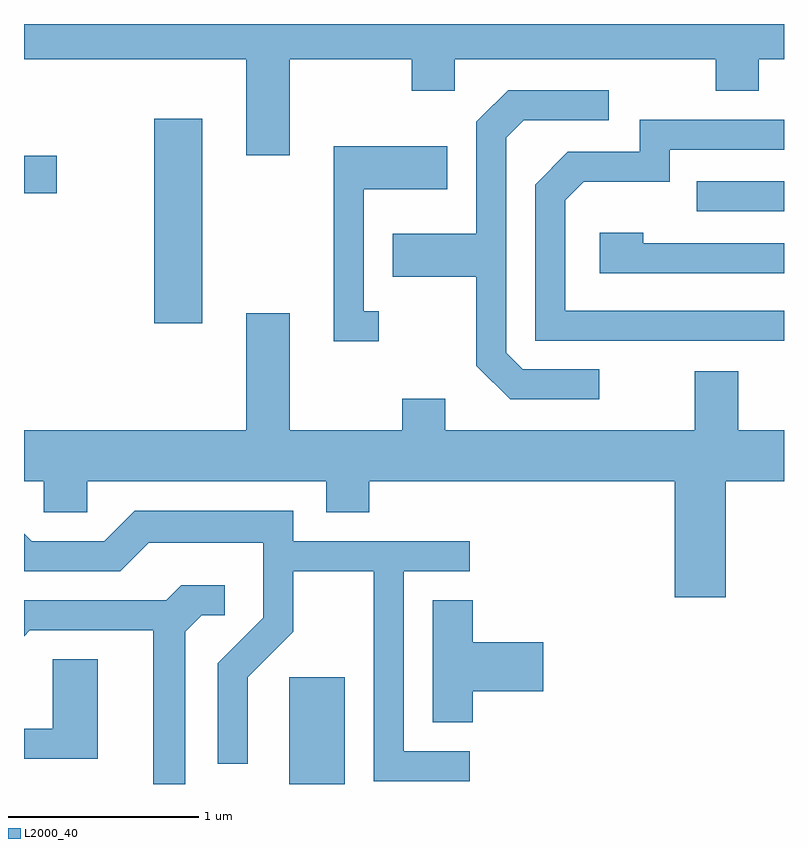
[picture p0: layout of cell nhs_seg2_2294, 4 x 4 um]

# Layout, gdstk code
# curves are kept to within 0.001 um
import gdstk
lib = gdstk.Library(unit=1e-6, precision=1e-09)
def R(c, l, rs):  # rectangles x0, y0, x1, y1
    for r in rs: c.add(gdstk.rectangle(r[:2], r[2:], *l))
def P(c, l, *ps):  # polygons
    for p in ps: c.add(gdstk.Polygon(p, *l))
L2000_40 = (2000, 40)

nhs_seg2_2294 = lib.new_cell('nhs_seg2_2294')
R(nhs_seg2_2294, L2000_40, [(253.006,1077.802,253.299,1078.364), (252.296,1080.226,252.549,1081.304), (255.153,1080.816,255.611,1080.974), (251.611,1080.911,251.784,1081.109)])
P(nhs_seg2_2294, L2000_40, [(253.009,1081.616),(253.651,1081.616),(253.651,1081.451),(253.879,1081.451),(253.879,1081.616),(255.251,1081.616),(255.251,1081.451),(255.479,1081.451),(255.479,1081.616),(255.611,1081.616),(255.611,1081.802),(251.611,1081.802),(251.611,1081.616),(252.781,1081.616),(252.781,1081.111),(253.009,1081.111)],
  [(254.638,1079.984),(254.237,1079.984),(254.149,1080.072),(254.149,1081.204),(254.242,1081.296),(254.688,1081.296),(254.688,1081.454),(254.159,1081.454),(253.991,1081.287),(253.991,1080.699),(253.551,1080.699),(253.551,1080.471),(253.991,1080.471),(253.991,1080.004),(254.169,1079.826),(254.638,1079.826)],
  [(255.611,1080.294),(254.459,1080.294),(254.459,1080.874),(254.557,1080.971),(255.009,1080.971),(255.009,1081.141),(255.611,1081.141),(255.611,1081.299),(254.851,1081.299),(254.851,1081.129),(254.474,1081.129),(254.301,1080.957),(254.301,1080.136),(255.611,1080.136)],
  [(253.478,1080.289),(253.399,1080.289),(253.399,1080.931),(253.839,1080.931),(253.839,1081.159),(253.241,1081.159),(253.241,1080.131),(253.478,1080.131)],
  [(255.611,1080.649),(254.869,1080.649),(254.869,1080.704),(254.641,1080.704),(254.641,1080.491),(255.611,1080.491)],
  [(255.304,1079.396),(255.611,1079.396),(255.611,1079.664),(255.369,1079.664),(255.369,1079.974),(255.141,1079.974),(255.141,1079.664),(253.829,1079.664),(253.829,1079.829),(253.601,1079.829),(253.601,1079.664),(253.009,1079.664),(253.009,1080.279),(252.781,1080.279),(252.781,1079.664),(251.611,1079.664),(251.611,1079.396),(251.716,1079.396),(251.716,1079.231),(251.944,1079.231),(251.944,1079.396),(253.201,1079.396),(253.201,1079.231),(253.429,1079.231),(253.429,1079.396),(255.036,1079.396),(255.036,1078.786),(255.304,1078.786)],
  [(253.958,1077.974),(253.609,1077.974),(253.609,1078.921),(253.958,1078.921),(253.958,1079.079),(253.029,1079.079),(253.029,1079.239),(252.194,1079.239),(252.034,1079.079),(251.652,1079.079),(251.611,1079.12),(251.611,1078.921),(252.117,1078.921),(252.267,1079.071),(252.871,1079.071),(252.871,1078.677),(252.631,1078.437),(252.631,1077.908),(252.789,1077.908),(252.789,1078.364),(253.029,1078.604),(253.029,1078.921),(253.451,1078.921),(253.451,1077.816),(253.958,1077.816)],
  [(252.459,1078.604),(252.547,1078.691),(252.668,1078.691),(252.668,1078.849),(252.439,1078.849),(252.359,1078.769),(251.611,1078.769),(251.611,1078.58),(251.642,1078.611),(252.291,1078.611),(252.291,1077.802),(252.459,1077.802)],
  [(253.974,1078.291),(254.344,1078.291),(254.344,1078.549),(253.974,1078.549),(253.974,1078.769),(253.761,1078.769),(253.761,1078.126),(253.974,1078.126)],
  [(251.999,1078.459),(251.761,1078.459),(251.761,1078.094),(251.611,1078.094),(251.611,1077.936),(251.999,1077.936)])

lib.write_gds('nhs_seg2_2294.gds')
